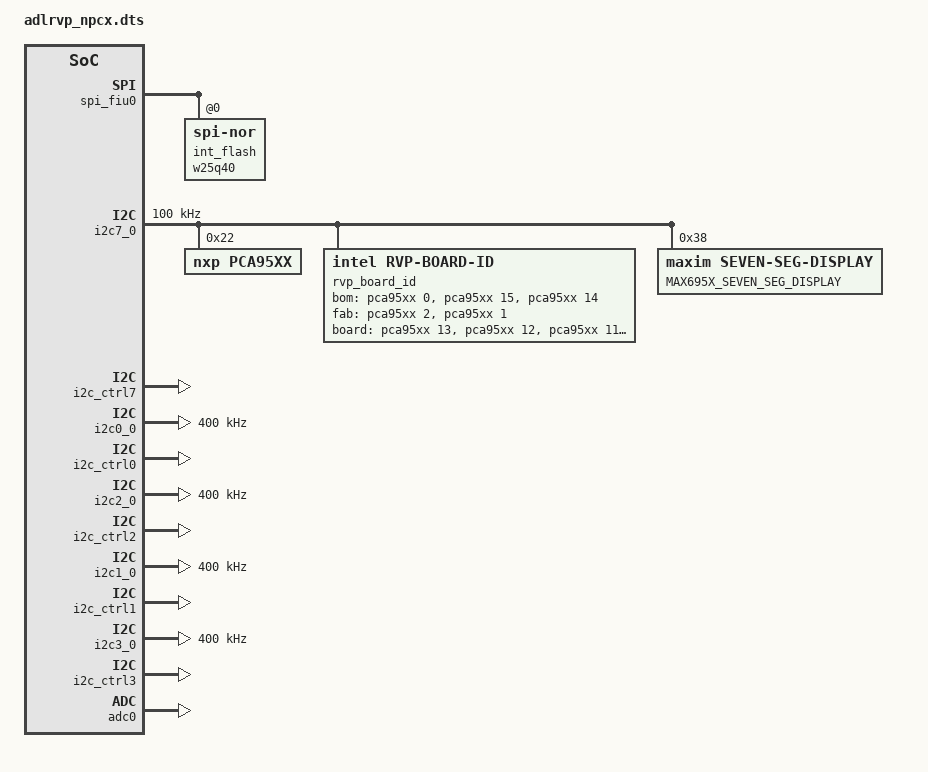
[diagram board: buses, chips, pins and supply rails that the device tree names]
/* Copyright 2022 The Chromium OS Authors. All rights reserved.
 * Use of this source code is governed by a BSD-style license that can be
 * found in the LICENSE file.
 */

/ {
	chosen {
		cros,rtc = &mtc;
	};

	hibernate-wake-pins {
		compatible = "cros-ec,hibernate-wake-pins";
		wakeup-irqs = <
			&int_ac_present
			&int_lid_open
			&int_power_button
		>;
	};

	named-i2c-ports {
		compatible = "named-i2c-ports";

		battery {
			i2c-port = <&i2c7_0>;
			enum-name = "I2C_PORT_BATTERY";
		};
		charger {
			i2c-port = <&i2c7_0>;
			enum-name = "I2C_PORT_CHARGER";
		};
		eeprom {
			i2c-port = <&i2c7_0>;
			enum-name = "I2C_PORT_EEPROM";
		};
		port80 {
			i2c-port = <&i2c7_0>;
			enum-name = "I2C_PORT_PORT80";
		};
		typec_0: typec-0 {
			i2c-port = <&i2c0_0>;
			enum-name = "I2C_PORT_TYPEC_0";
		};
		typec_1: typec-1 {
			i2c-port = <&i2c2_0>;
			enum-name = "I2C_PORT_TYPEC_1";
		};
		typec_2: typec-2 {
			i2c-port = <&i2c1_0>;
			enum-name = "I2C_PORT_TYPEC_2";
		};
		typec_3: typec-3 {
			i2c-port = <&i2c3_0>;
			enum-name = "I2C_PORT_TYPEC_3";
		};
	};

	named-adc-channels {
		compatible = "named-adc-channels";

		adc_ambient: ambient {
			label = "ADC_TEMP_SNS_AMBIENT";
			enum-name = "ADC_TEMP_SENSOR_1";
			io-channels = <&adc0 3>;
		};
		adc_ddr: ddr {
			label = "ADC_TEMP_SNS_DDR";
			enum-name = "ADC_TEMP_SENSOR_2";
			io-channels = <&adc0 4>;
		};
		adc_skin: skin {
			label = "ADC_TEMP_SNS_SKIN";
			enum-name = "ADC_TEMP_SENSOR_3";
			io-channels = <&adc0 2>;
		};
		adc_vr: vr {
			label = "ADC_TEMP_SNS_VR";
			enum-name = "ADC_TEMP_SENSOR_4";
			io-channels = <&adc0 1>;
		};
	};

};

/* TODO b/217436680: remove the flash jedec-id override once the upstream
 * change lands.
 */
&spi_fiu0 {
	int_flash: w25q40@0 {
		compatible ="jedec,spi-nor";
		jedec-id = [ef 40 14];
	};
};

/* charger */
&i2c7_0 {
	status = "okay";
	clock-frequency = <I2C_BITRATE_STANDARD>;

	pca95xx: pca95xx@22 {
		compatible = "nxp,pca95xx";
		label = "PCA95XX";
		reg = <0x22>;
		gpio-controller;
		#gpio-cells = <2>;
		ngpios = <16>;
	};

	rvp_board_id: rvp-board-id {
		compatible = "intel,rvp-board-id";

		/*
		 * BOM ID [2]   : IOEX[0]
		 * BOM ID [1:0] : IOEX[15:14]
		 */
		bom-gpios = <&pca95xx 0 0>, <&pca95xx 15 0>, <&pca95xx 14 0>;

		/*
		 * FAB ID [1:0] : IOEX[2:1]
		 */
		fab-gpios = <&pca95xx 2 0>, <&pca95xx 1 0>;

		/*
		 * BOARD ID[5:0] : IOEX[13:8]
		 */
		board-gpios = <&pca95xx 13 0>, <&pca95xx 12 0>, <&pca95xx 11 0>,
			      <&pca95xx 10 0>, <&pca95xx 9 0>, <&pca95xx 8 0>;
	};

	seven_seg_display: max695x-seven-seg-display@38 {
		compatible = "maxim,seven-seg-display";
		reg = <0x38>;
		label = "MAX695X_SEVEN_SEG_DISPLAY";
	};
};

&i2c_ctrl7 {
	status = "okay";
};

/* typec_0 */
&i2c0_0 {
	status = "okay";
	clock-frequency = <I2C_BITRATE_FAST>;
};

&i2c_ctrl0 {
	status = "okay";
};

/* typec_1 */
&i2c2_0 {
	status = "okay";
	clock-frequency = <I2C_BITRATE_FAST>;
};

&i2c_ctrl2 {
	status = "okay";
};

/* typec_2 */
&i2c1_0 {
	status = "okay";
	clock-frequency = <I2C_BITRATE_FAST>;
};

&i2c_ctrl1 {
	status = "okay";
};

/* typec_3 */
&i2c3_0 {
	status = "okay";
	clock-frequency = <I2C_BITRATE_FAST>;
};

&i2c_ctrl3 {
	status = "okay";
};

&adc0 {
	status = "okay";
};
